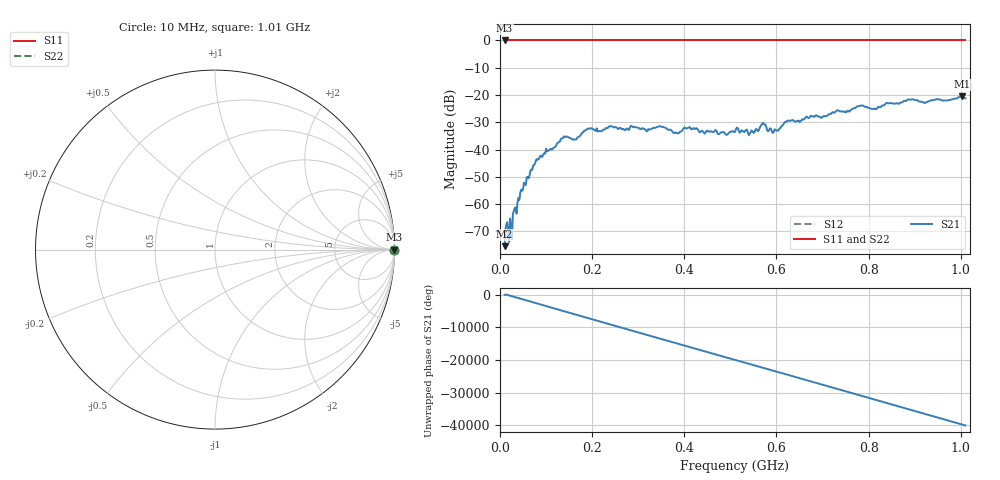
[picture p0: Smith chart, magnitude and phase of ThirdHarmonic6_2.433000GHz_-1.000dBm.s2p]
! 8/17/2025 4:13:52 AM
! C:\ANRITSUVNA\TEMP\TEMP.S2P
! CHANNEL.1
! TR.MEASUREMENT
! RAW.DATA
! RF.CORRECTION.OFF
! AVERAGING.OFF
! IF.BANDWIDTH: 5KHZ
! SWEEPTYPE:  FREQ.SWEEP(Linear)
! Reference Plane Port Info
! PORT:  PORT1  PORT2
! DISTANCE:  0  m  0  m
! TIME:  0  s  0  s
! PHASE.OFFSET:  0  deg.  0  deg.
! LOSS:  0  dB  0  dB
! REF.LOSS:  0  dB  0  dB
! REF.FREQ:  0  Hz  0  Hz
! Power Info
! POWER:  -20  dBm  -20  dBm
! EFF.POWER:  -20  dBm  -20  dBm
! SOURCE.ATTEN:  0  dB  0  dB
! TEST.ATTEN:  0  dB  0  dB
# GHZ S RI R 50.0
! FREQ.GHZ  S11RE  S11IM  S21RE  S21IM  S12RE  S12IM  S22RE  S22IM
!; PortSelection: Port_12
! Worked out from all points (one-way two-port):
!   501 points, 10 MHz to 1.01 GHz, reference 50 ohm
!   highest |S21| = -20.51 dB at 1.002 GHz (marker M1); lowest = -75.4 dB at 10 MHz (marker M2)
!   lowest |S11| = 0.0 dB at 10 MHz (marker M3)
!   |S11| at or under -10 dB: nowhere
!   |S22| runs from 0.0 to 0.0 dB; largest |S21 - S12| = 1.1
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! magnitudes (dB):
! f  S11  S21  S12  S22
! 10 MHz  0.0  -75.4  0.0  0.0
! 18 MHz  0.0  -70.1  0.0  0.0
! 22 MHz  0.0  -65.3  0.0  0.0
! 42 MHz  0.0  -58.5  0.0  0.0
! 76 MHz  0.0  -45.1  0.0  0.0
! 136 MHz  0.0  -35.9  0.0  0.0
! 162 MHz  0.0  -36.3  0.0  0.0
! 178 MHz  0.0  -34.0  0.0  0.0
! 240 MHz  0.0  -31.5  0.0  0.0
! 344 MHz  0.0  -31.5  0.0  0.0
! 382 MHz  0.0  -33.9  0.0  0.0
! 408 MHz  0.0  -32.1  0.0  0.0
! 492 MHz  0.0  -34.7  0.0  0.0
! 510 MHz  0.0  -33.5  0.0  0.0
! 542 MHz  0.0  -34.2  0.0  0.0
! 572 MHz  0.0  -30.5  0.0  0.0
! 596 MHz  0.0  -32.6  0.0  0.0
! 622 MHz  0.0  -29.8  0.0  0.0
! 678 MHz  0.0  -27.8  0.0  0.0
! 844 MHz  0.0  -23.1  0.0  0.0
! 1.002 GHz  0.0  -20.5  0.0  0.0
! 1.01 GHz  0.0  -21.2  0.0  0.0
